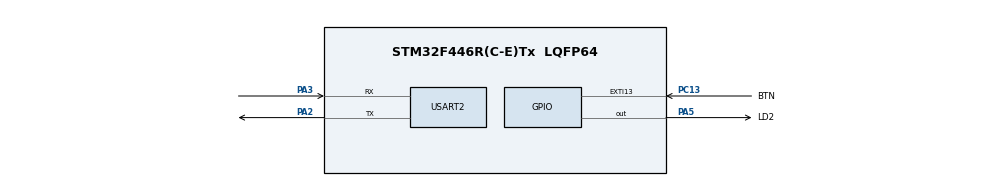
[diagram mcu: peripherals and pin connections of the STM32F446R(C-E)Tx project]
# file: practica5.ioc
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Mcu.Family=STM32F4
Mcu.Name=STM32F446R(C-E)Tx
Mcu.Package=LQFP64
NVIC.PriorityGroup=NVIC_PRIORITYGROUP_4
NVIC.USART2_IRQn=true\:0\:0\:false\:false\:true\:true\:true\:true
PA13.Mode=Serial_Wire
PA13.Signal=SYS_JTMS-SWDIO
PA14.Mode=Serial_Wire
PA14.Signal=SYS_JTCK-SWCLK
PA2.Mode=Asynchronous
PA2.Signal=USART2_TX
PA3.Mode=Asynchronous
PA3.Signal=USART2_RX
PA5.GPIO_Label=LD2
PA5.Signal=GPIO_Output
PC13.GPIO_Label=BTN
PC13.Signal=GPXTI13
ProjectManager.HeapSize=0x200
ProjectManager.StackSize=0x400
ProjectManager.TargetToolchain=STM32CubeIDE
RCC.CortexFreq_Value=16000000
RCC.USBFreq_Value=96000000
RCC.VCOOutputFreq_Value=192000000
USART2.VirtualMode=VM_ASYNC
board=custom

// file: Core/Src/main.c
/* USER CODE BEGIN Header */
/**
 ******************************************************************************
 * @file           : main.c
 * @brief          : Main program body
 ******************************************************************************
 * @attention
 *
 * Copyright (c) 2025 STMicroelectronics.
 * All rights reserved.
 *
 * This software is licensed under terms that can be found in the LICENSE file
 * in the root directory of this software component.
 * If no LICENSE file comes with this software, it is provided AS-IS.
 *
 ******************************************************************************
 */
/* USER CODE END Header */
#include "main.h"

/* USER CODE BEGIN Includes */

#include "API_debounce.h"
#include "API_delay_time_matrix.h"
#include "API_uart.h"

/* USER CODE END Includes */

UART_HandleTypeDef huart2;

/* USER CODE BEGIN PV */

/**
 * @brief Duración de 100 ms.
 */
const tick_t T_100MS = 100;
/**
 * @brief Duración de 200 ms.
 */
const tick_t T_200MS = 200;
/**
 * @brief Duración de 500 ms.
 */
const tick_t T_500MS = 500;
/**
 * @brief Duración de 1 segundo
 */
const tick_t T_1S = 1000;

/**
 * @brief Número de tiempos en la matriz.
 */
const index_t NUM_TIEMPOS = 2;

/**
 * @brief Array de duraciones para el LED.
 */
static tick_t TIEMPOS[] = { T_100MS, T_500MS };

/* USER CODE END PV */

void SystemClock_Config(void);
static void MX_GPIO_Init(void);
static void MX_USART2_UART_Init(void);

int main(void)
{

  /* MCU Configuration--------------------------------------------------------*/

  /* Reset of all peripherals, Initializes the Flash interface and the Systick. */
  HAL_Init();

  /* Configure the system clock */
  SystemClock_Config();

  /* Initialize all configured peripherals */
  MX_GPIO_Init();
  MX_USART2_UART_Init();
  /* USER CODE BEGIN 2 */

  uartInit();

  delay_time_matrix_t delayTimeMatrix; /* Matriz de duraciones para el LED. */
  delay_t delay; /* Delay para el LED. */
  debounce_t debounceFSM; /* Máquina de estados para el debounce. */

  delayTimeMatrixInit(&delayTimeMatrix, NUM_TIEMPOS, TIEMPOS); // Inicializa la matriz de duraciones
  delayInit(&delay, delayTimeMatrixRead(&delayTimeMatrix)); // Inicializa el delay con una duración de 100 ms
  debounceFSM_init(&debounceFSM); // Inicializa la máquina de estados para el debounce

  /* USER CODE END 2 */

  /* Infinite loop */
  /* USER CODE BEGIN WHILE */

  while (1) {

	// Actualización del FSM de debounce
	debounceFSM_update(&debounceFSM);

	if (delayRead(&delay)) {

		HAL_GPIO_TogglePin(LD2_GPIO_Port, LD2_Pin);
		if (readKey(&debounceFSM)) {
			// Cambia la duración del delay al siguiente valor
			tick_t newDuration = delayTimeMatrixNext(&delayTimeMatrix);
			delayWrite(&delay, newDuration); // Cambia la duración del delay
		}
	}

    /* USER CODE END WHILE */

  }
}

void SystemClock_Config(void)
{
  RCC_OscInitTypeDef RCC_OscInitStruct = {0};
  RCC_ClkInitTypeDef RCC_ClkInitStruct = {0};

  /** Configure the main internal regulator output voltage
  */
  __HAL_RCC_PWR_CLK_ENABLE();
  __HAL_PWR_VOLTAGESCALING_CONFIG(PWR_REGULATOR_VOLTAGE_SCALE3);

  /** Initializes the RCC Oscillators according to the specified parameters
  * in the RCC_OscInitTypeDef structure.
  */
  RCC_OscInitStruct.OscillatorType = RCC_OSCILLATORTYPE_HSI;
  RCC_OscInitStruct.HSIState = RCC_HSI_ON;
  RCC_OscInitStruct.HSICalibrationValue = RCC_HSICALIBRATION_DEFAULT;
  RCC_OscInitStruct.PLL.PLLState = RCC_PLL_NONE;
  if (HAL_RCC_OscConfig(&RCC_OscInitStruct) != HAL_OK)
  {
    Error_Handler();
  }

  /** Initializes the CPU, AHB and APB buses clocks
  */
  RCC_ClkInitStruct.ClockType = RCC_CLOCKTYPE_HCLK|RCC_CLOCKTYPE_SYSCLK
                              |RCC_CLOCKTYPE_PCLK1|RCC_CLOCKTYPE_PCLK2;
  RCC_ClkInitStruct.SYSCLKSource = RCC_SYSCLKSOURCE_HSI;
  RCC_ClkInitStruct.AHBCLKDivider = RCC_SYSCLK_DIV1;
  RCC_ClkInitStruct.APB1CLKDivider = RCC_HCLK_DIV1;
  RCC_ClkInitStruct.APB2CLKDivider = RCC_HCLK_DIV1;

  if (HAL_RCC_ClockConfig(&RCC_ClkInitStruct, FLASH_LATENCY_0) != HAL_OK)
  {
    Error_Handler();
  }
}

static void MX_USART2_UART_Init(void)
{

  /* USER CODE BEGIN USART2_Init 0 */

  return; /**< Reemplazado por API_uart#uartInit() */

  /* USER CODE END USART2_Init 0 */

  huart2.Instance = USART2;
  huart2.Init.BaudRate = 115200;
  huart2.Init.WordLength = UART_WORDLENGTH_8B;
  huart2.Init.StopBits = UART_STOPBITS_1;
  huart2.Init.Parity = UART_PARITY_NONE;
  huart2.Init.Mode = UART_MODE_TX_RX;
  huart2.Init.HwFlowCtl = UART_HWCONTROL_NONE;
  huart2.Init.OverSampling = UART_OVERSAMPLING_16;
  if (HAL_UART_Init(&huart2) != HAL_OK)
  {
    Error_Handler();
  }

}

static void MX_GPIO_Init(void)
{
  GPIO_InitTypeDef GPIO_InitStruct = {0};

  /* GPIO Ports Clock Enable */
  __HAL_RCC_GPIOC_CLK_ENABLE();
  __HAL_RCC_GPIOA_CLK_ENABLE();

  /*Configure GPIO pin Output Level */
  HAL_GPIO_WritePin(LD2_GPIO_Port, LD2_Pin, GPIO_PIN_RESET);

  /*Configure GPIO pin : BTN_Pin */
  GPIO_InitStruct.Pin = BTN_Pin;
  GPIO_InitStruct.Mode = GPIO_MODE_IT_RISING;
  GPIO_InitStruct.Pull = GPIO_NOPULL;
  HAL_GPIO_Init(BTN_GPIO_Port, &GPIO_InitStruct);

  /*Configure GPIO pin : LD2_Pin */
  GPIO_InitStruct.Pin = LD2_Pin;
  GPIO_InitStruct.Mode = GPIO_MODE_OUTPUT_PP;
  GPIO_InitStruct.Pull = GPIO_NOPULL;
  GPIO_InitStruct.Speed = GPIO_SPEED_FREQ_LOW;
  HAL_GPIO_Init(LD2_GPIO_Port, &GPIO_InitStruct);

}

void Error_Handler(void)
{
	__disable_irq();
	while (1) {
	}
}
